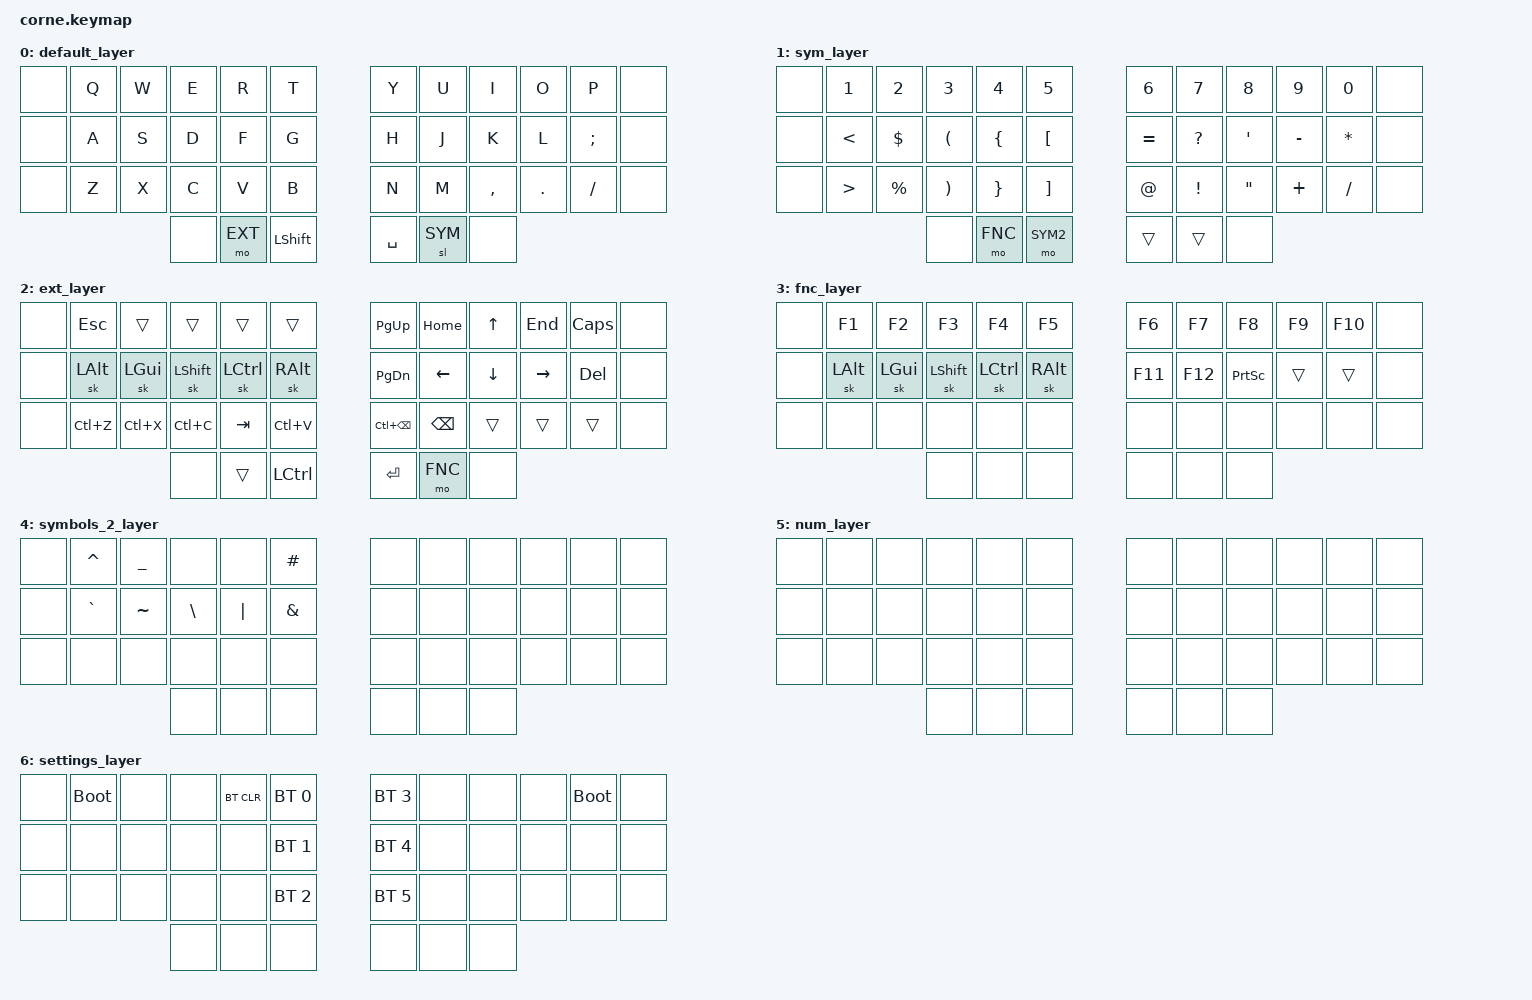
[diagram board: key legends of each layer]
/*
 * Copyright (c) 2020 The ZMK Contributors
 *
 * SPDX-License-Identifier: MIT
 */

#include <behaviors.dtsi>
#include <dt-bindings/zmk/keys.h>
#include <dt-bindings/zmk/bt.h>

// Layer definitions
    #define BASE 0
    #define SYM 1
    #define EXT 2
    #define FNC 3
    #define SYM2 4
    #define NUM 5
    #define SETTINGS 6
// -------------------

&mt {
   // flavor = "tap-preferred";
   // tapping_term_ms = <200>;
};

&sk {
    ignore-modifiers;
};

/ {

        combos {
            compatible = "zmk,combos";
				// both right thumb keys
            combo_num {
                timeout-ms = <300>;
                key-positions = <39 40>;
                bindings = <&mo NUM>;
            };
				// internal-left & external-right thumb keys
	        combo_sym2 {
	            timeout-ms = <200>;
	            key-positions = <38 40>;
	            bindings = <&mo SYM2>;
	        };
	    			// both left thumb keys
	        combo_settings {
	            timeout-ms = <300>;
	            key-positions = <37 38>;
	            bindings = <&mo SETTINGS>;
	        };
        };

        keymap {
                compatible = "zmk,keymap";
                default_layer {
                        bindings = <
   &none &kp Q &kp W &kp E &kp R &kp T   &kp Y &kp U &kp I     &kp O   &kp P    &none
   &none &kp A &kp S &kp D &kp F &kp G   &kp H &kp J &kp K     &kp L   &kp SEMI &none
   &none &kp Z &kp X &kp C &kp V &kp B   &kp N &kp M &kp COMMA &kp DOT &kp FSLH &none
              &none &mo EXT &kp LSHIFT   &kp SPACE &sl SYM &none
                        >;
                };
                sym_layer {
                        bindings = <
   &none &kp N1 &kp N2    &kp N3   &kp N4   &kp N5     &kp N6    &kp N7    &kp N8  &kp N9    &kp N0    &none
   &none &kp LT &kp DLLR  &kp LPAR &kp LBRC &kp LBKT   &kp EQUAL &kp QMARK &kp SQT &kp MINUS &kp ASTRK &none
   &none &kp GT &kp PRCNT &kp RPAR &kp RBRC &kp RBKT   &kp AT    &kp EXCL  &kp DQT &kp PLUS  &kp FSLH  &none
                             &none &mo FNC &mo SYM2   &trans &trans &none
                        >;
                };
                ext_layer {
                        bindings = <
   &none &kp ESC   &trans    &trans     &trans    &trans     &kp PG_UP    &kp HOME &kp UP   &kp END   &kp CAPS &none
   &none &sk LALT  &sk LGUI  &sk LSHIFT &sk LCTRL &sk RALT   &kp PG_DN    &kp LEFT &kp DOWN &kp RIGHT &kp DEL  &none
   &none &kp LC(Z) &kp LC(X) &kp LC(C)  &kp TAB   &kp LC(V)  &kp LC(BSPC) &kp BSPC &trans   &trans    &trans   &none
                    	             &none &trans &kp LCTRL  &kp ENTER &mo FNC &none
                        >;
                };
                fnc_layer {
                        bindings = <
   &none &kp F1   &kp F2   &kp F3     &kp F4    &kp F5     &kp F6  &kp F7  &kp F8    &kp F9 &kp F10 &none
   &none &sk LALT &sk LGUI &sk LSHIFT &sk LCTRL &sk RALT   &kp F11 &kp F12 &kp PSCRN &trans &trans  &none
   &none &none    &none    &none      &none     &none      &none   &none   &none     &none  &none   &none
                                       &none &none &none   &none &none &none
                        >;
                };
                symbols_2_layer {
                        bindings = <
   &none &kp CARET &kp UNDER &none    &none    &kp HASH   &none &none &none &none &none &none
   &none &kp GRAVE &kp TILDE &kp BSLH &kp PIPE &kp AMPS   &none &none &none &none &none &none
   &none &none     &none     &none    &none    &none      &none &none &none &none &none &none
                    	              &none &none &none   &none &none &none
                        >;
                };
                num_layer {
                        bindings = <
   &none &none &none &none &none &none   &none &none &none &none &none &none
   &none &none &none &none &none &none   &none &none &none &none &none &none
   &none &none &none &none &none &none   &none &none &none &none &none &none
                     &none &none &none   &none &none &none
                        >;
                };
                settings_layer {
                        bindings = <
   &none &bootloader &none &none &bt BT_CLR &bt BT_SEL 0   &bt BT_SEL 3 &none &none &none &bootloader &none
   &none &none       &none &none &none      &bt BT_SEL 1   &bt BT_SEL 4 &none &none &none &none       &none
   &none &none       &none &none &none      &bt BT_SEL 2   &bt BT_SEL 5 &none &none &none &none       &none
                                       &none &none &none   &none &none &none
                        >;
                };
        };
};
